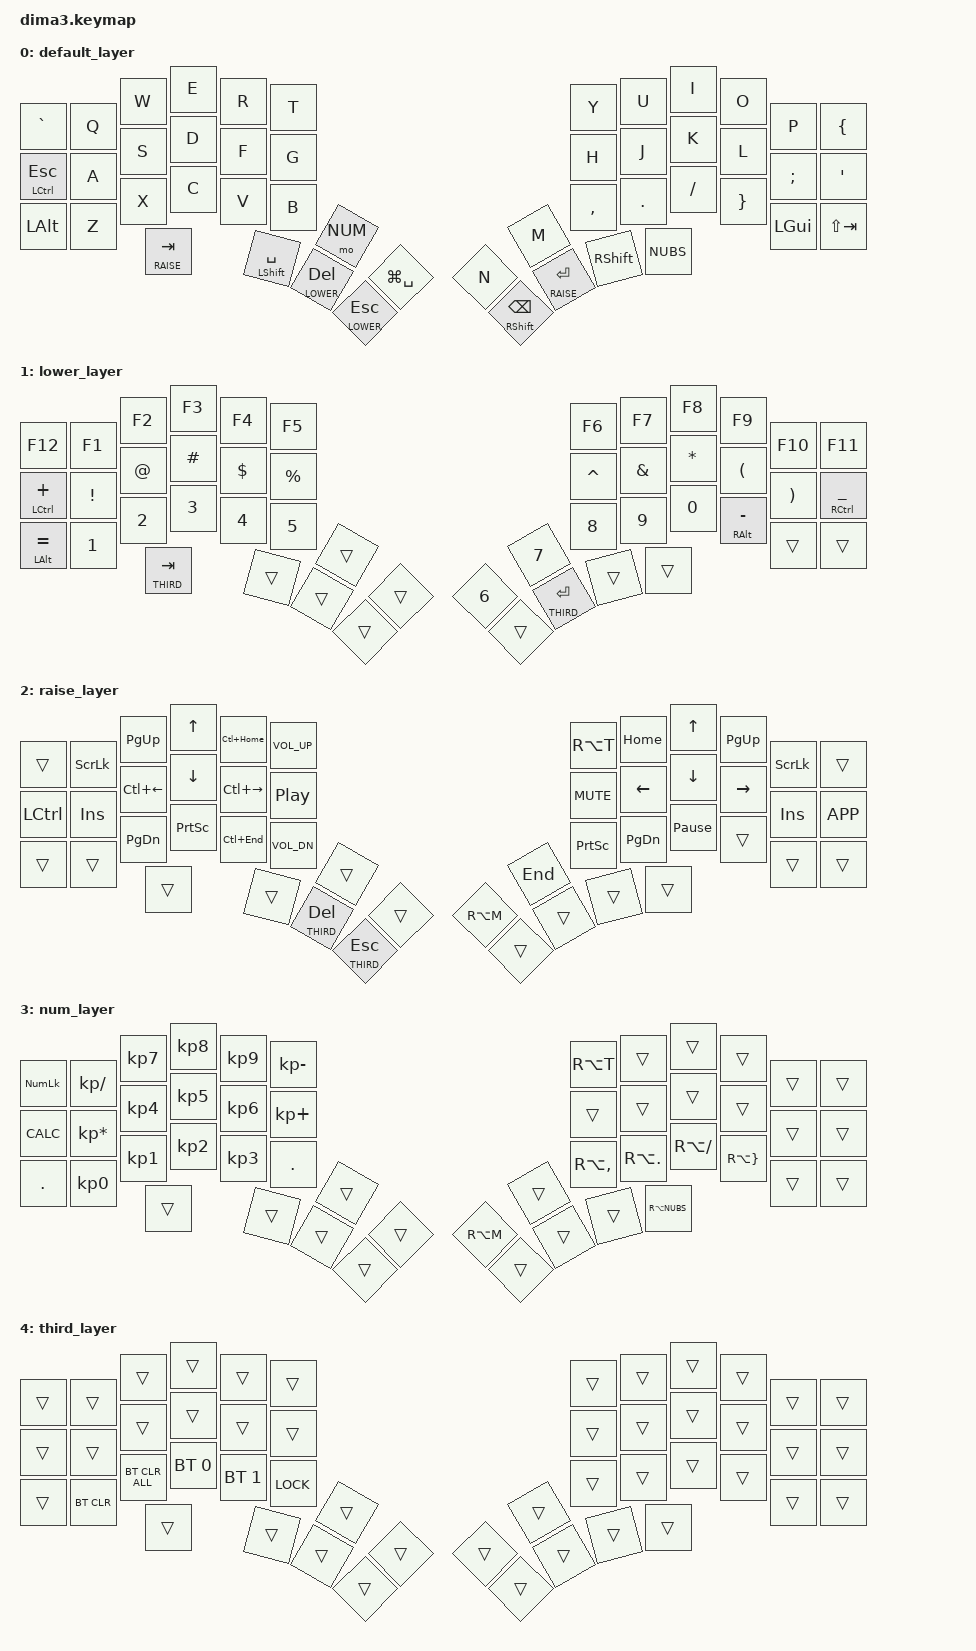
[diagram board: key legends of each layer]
/*
 * Copyright (c) 2020 The ZMK Contributors
 *
 * SPDX-License-Identifier: MIT
 */

#include <behaviors.dtsi>
#include <dt-bindings/zmk/bt.h>
#include <dt-bindings/zmk/keys.h>

#define DEFAULT 0
#define LOWER   1
#define RAISE   2
#define NUM     3
#define THIRD   4

/ {
    keymap {
        compatible = "zmk,keymap";
        default_layer {
          bindings = <
&kp GRAVE     &kp Q &kp W &kp E    &kp R       &kp T                                                                       &kp Y            &kp U     &kp I     &kp O    &kp P     &kp LBRC
&mt LCTRL ESC &kp A &kp S &kp D    &kp F       &kp G                                                                       &kp H            &kp J     &kp K     &kp L    &kp SEMI  &kp SQT
&kp LALT      &kp Z &kp X &kp C    &kp V       &kp B         &mo NUM                                        &kp LG(SPACE)  &kp N            &kp M     &kp COMMA &kp DOT  &kp FSLH  &kp RBRC
                          &kp LGUI &kp LS(TAB) &lt RAISE TAB &mt LSHFT SPACE &lt LOWER DEL    &lt LOWER ESC &mt RSHFT BSPC &lt RAISE ENTER  &kp RSHFT &kp NUBS
            >;
        };
        lower_layer {
          bindings = <
&kp F12         &kp F1   &kp F2 &kp F3    &kp F4    &kp F5                                      &kp F6          &kp F7    &kp F8    &kp F9    &kp F10  &kp F11
&mt LCTRL PLUS  &kp EXCL &kp AT &kp HASH  &kp DLLR  &kp PRCNT                                   &kp CARET       &kp AMPS  &kp STAR  &kp LPAR  &kp RPAR &mt RCTRL UNDER
&mt LALT EQUAL  &kp N1   &kp N2 &kp N3    &kp N4    &kp N5         &trans                &trans &kp N6          &kp N7    &kp N8    &kp N9    &kp N0   &mt RALT MINUS
                                &trans    &trans    &lt THIRD TAB  &trans &trans  &trans &trans &lt THIRD ENTER &trans    &trans
          >;
        };
        raise_layer {
          bindings = <
&trans    &kp SLCK  &kp PG_UP     &kp UP    &kp LC(HOME)  &kp C_VOL_UP                                                 &kp RA(T)  &kp HOME  &kp UP    &kp PG_UP &kp SLCK        &trans
&kp LCTRL &kp INS   &kp LC(LEFT)  &kp DOWN  &kp LC(RIGHT) &kp C_PP                                                     &kp C_MUTE &kp LEFT  &kp DOWN  &kp RIGHT &kp INS         &kp K_APP
&trans    &trans    &kp PG_DN     &kp PSCRN &kp LC(END)   &kp C_VOL_DN &trans                                  &trans  &kp RA(M)  &kp END   &kp PSCRN &kp PG_DN &kp PAUSE_BREAK &trans
                                  &trans    &trans        &trans       &trans &lt THIRD DEL     &lt THIRD ESC  &trans  &trans     &trans    &trans
          >;
        };
        num_layer {
 bindings = <
&kp KP_NUM &kp KP_SLASH     &kp KP_N7  &kp KP_N8 &kp KP_N9 &kp KP_MINUS                                 &kp RA(T) &trans &trans        &trans       &trans       &trans
&kp K_CALC &kp KP_ASTERISK  &kp KP_N4  &kp KP_N5 &kp KP_N6 &kp KP_PLUS                                  &trans    &trans &trans        &trans       &trans       &trans
&kp DOT    &kp KP_N0        &kp KP_N1  &kp KP_N2 &kp KP_N3 &kp DOT      &trans                   &trans &kp RA(M) &trans &kp RA(COMMA) &kp RA(DOT) &kp RA(FSLH) &kp RA(RBRC)
                                        &trans   &trans    &trans       &trans  &trans  &trans   &trans &trans    &trans &kp RA(NUBS)
  >;
        };

        third_layer {
          bindings = <
&trans  &trans      &trans          &trans        &trans        &trans                                         &trans &trans       &trans  &trans &trans &trans
&trans  &trans      &trans          &trans        &trans        &trans                                         &trans &trans       &trans  &trans &trans &trans
&trans  &bt BT_CLR  &bt BT_CLR_ALL  &bt BT_SEL 0  &bt BT_SEL 1  &kp K_LOCK  &trans                     &trans  &trans &trans       &trans  &trans &trans &trans
                                    &trans        &trans   &trans      &trans   &trans    &trans  &trans  &trans &trans  &trans
          >;
        };
    };
};

